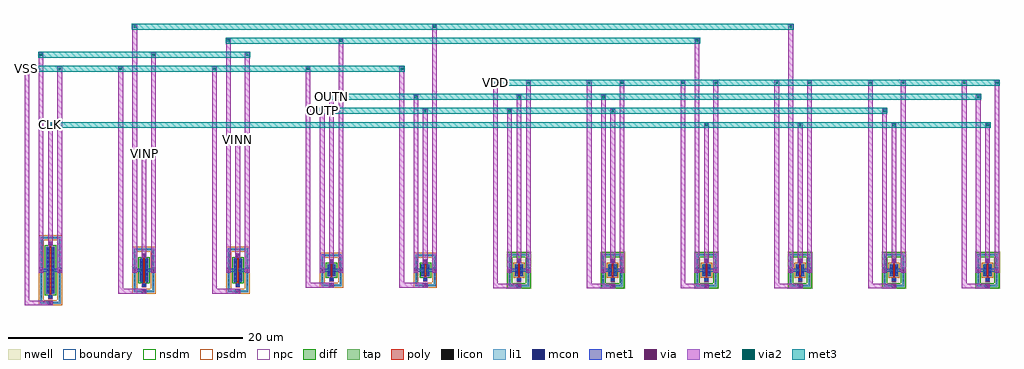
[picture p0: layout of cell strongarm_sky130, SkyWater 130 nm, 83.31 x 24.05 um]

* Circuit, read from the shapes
.subckt strongarm_sky130 CLK OUTN OUTP VDD VINN VINP VSS
XM1 VSS CLK n1 VSS sky130_fd_pr__nfet_01v8 w=4 l=0.15
XM2 n1 VINP n2 VSS sky130_fd_pr__nfet_01v8 w=2 l=0.15
XM3 n1 VINN n3 VSS sky130_fd_pr__nfet_01v8 w=2 l=0.15
XM4 n3 OUTN OUTP VSS sky130_fd_pr__nfet_01v8 w=1 l=0.15
XM5 n2 OUTP OUTN VSS sky130_fd_pr__nfet_01v8 w=1 l=0.15
XM6 VDD OUTN OUTP VDD sky130_fd_pr__pfet_01v8 w=1 l=0.15
XM7 VDD OUTP OUTN VDD sky130_fd_pr__pfet_01v8 w=1 l=0.15
XM8 VDD CLK n3 VDD sky130_fd_pr__pfet_01v8 w=1 l=0.15
XM9 VDD CLK n2 VDD sky130_fd_pr__pfet_01v8 w=1 l=0.15
XM10 VDD CLK OUTP VDD sky130_fd_pr__pfet_01v8 w=1 l=0.15
XM11 VDD CLK OUTN VDD sky130_fd_pr__pfet_01v8 w=1 l=0.15
.ends

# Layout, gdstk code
import gdstk
lib = gdstk.Library(unit=1e-6, precision=1e-09)
def R(c, l, rs):  # rectangles x0, y0, x1, y1
    for r in rs: c.add(gdstk.rectangle(r[:2], r[2:], *l))
def A(c, l, x, y, w, h, nx, ny, dx, dy):  # array of equal rectangles
    R(c, l, [(x+i*dx, y+j*dy, x+i*dx+w, y+j*dy+h) for i in range(nx) for j in range(ny)])
nwell = (64, 20)
diff = (65, 20)
tap = (65, 44)
poly = (66, 20)
licon = (66, 44)
li1 = (67, 20)
mcon = (67, 44)
met1 = (68, 20)
via = (68, 44)
met2 = (69, 20)
via2 = (69, 44)
met3 = (70, 20)
nsdm = (93, 44)
psdm = (94, 20)
npc = (95, 20)
boundary = (235, 4)

c_n4 = lib.new_cell('n4')
R(c_n4, diff, [(-0.365,-2,0.365,2)])
R(c_n4, tap, [(-0.875,-2.87,0.875,-2.7), (-0.875,-2.7,-0.705,2.7), (0.705,-2.7,0.875,2.7), (-0.875,2.7,0.875,2.87)])
R(c_n4, poly, [(-0.165,-2.44,0.165,-2.11), (-0.075,-2.11,0.075,2.11), (-0.165,2.11,0.165,2.44)])
A(c_n4, licon, -0.875, -2.295, 0.17, 0.17, 1, 14, 0, 0.34)
A(c_n4, licon, 0.705, -2.295, 0.17, 0.17, 1, 14, 0, 0.34)
A(c_n4, licon, -0.305, -1.785, 0.17, 0.17, 1, 11, 0, 0.34)
A(c_n4, licon, 0.135, -1.785, 0.17, 0.17, 1, 11, 0, 0.34)
R(c_n4, licon, [(-0.255,-2.87,-0.085,-2.7), (0.085,-2.87,0.255,-2.7), (-0.085,-2.36,0.085,-2.19), (-0.085,2.19,0.085,2.36), (-0.255,2.7,-0.085,2.87), (0.085,2.7,0.255,2.87)])
R(c_n4, li1, [(-0.875,-2.87,0.875,-2.7), (-0.875,-2.7,-0.705,2.7), (0.705,-2.7,0.875,2.7), (-0.165,-2.36,0.165,-2.19), (-0.305,-2.02,-0.135,2.02), (0.135,-2.02,0.305,2.02), (-0.165,2.19,0.165,2.36), (-0.875,2.7,0.875,2.87)])
A(c_n4, mcon, -0.305, -1.885, 0.17, 0.17, 1, 11, 0, 0.36)
A(c_n4, mcon, 0.135, -1.885, 0.17, 0.17, 1, 11, 0, 0.36)
R(c_n4, mcon, [(-0.085,-2.36,0.085,-2.19), (-0.085,2.19,0.085,2.36)])
R(c_n4, met1, [(-0.17,-2.405,0.17,-2.145), (-0.145,-2.39,0.145,-2.16), (-0.335,-2,-0.105,2), (0.105,-2,0.335,2), (-0.145,2.16,0.145,2.39)])
R(c_n4, nsdm, [(-0.49,-2.125,0.49,2.125)])
R(c_n4, psdm, [(-1,-2.995,1,-2.575), (-1,-2.575,-0.58,2.575), (0.58,-2.575,1,2.575), (-1,2.575,1,2.995)])
R(c_n4, npc, [(-0.185,-2.46,0.185,-2.09), (-0.185,2.09,0.185,2.46)])
R(c_n4, boundary, [(-0.79,-2.785,0.79,2.785)])

c_n2 = lib.new_cell('n2')
R(c_n2, diff, [(-0.365,-1,0.365,1)])
R(c_n2, tap, [(-0.875,-1.87,0.875,-1.7), (-0.875,-1.7,-0.705,1.7), (0.705,-1.7,0.875,1.7), (-0.875,1.7,0.875,1.87)])
R(c_n2, poly, [(-0.165,-1.44,0.165,-1.11), (-0.075,-1.11,0.075,1.11), (-0.165,1.11,0.165,1.44)])
A(c_n2, licon, -0.875, -1.275, 0.17, 0.17, 1, 8, 0, 0.34)
A(c_n2, licon, 0.705, -1.275, 0.17, 0.17, 1, 8, 0, 0.34)
A(c_n2, licon, -0.305, -0.935, 0.17, 0.17, 1, 6, 0, 0.34)
A(c_n2, licon, 0.135, -0.935, 0.17, 0.17, 1, 6, 0, 0.34)
R(c_n2, licon, [(-0.255,-1.87,-0.085,-1.7), (0.085,-1.87,0.255,-1.7), (-0.085,-1.36,0.085,-1.19), (-0.085,1.19,0.085,1.36), (-0.255,1.7,-0.085,1.87), (0.085,1.7,0.255,1.87)])
R(c_n2, li1, [(-0.875,-1.87,0.875,-1.7), (-0.875,-1.7,-0.705,1.7), (0.705,-1.7,0.875,1.7), (-0.165,-1.36,0.165,-1.19), (-0.305,-1.02,-0.135,1.02), (0.135,-1.02,0.305,1.02), (-0.165,1.19,0.165,1.36), (-0.875,1.7,0.875,1.87)])
A(c_n2, mcon, -0.305, -0.805, 0.17, 0.17, 1, 5, 0, 0.36)
A(c_n2, mcon, 0.135, -0.805, 0.17, 0.17, 1, 5, 0, 0.36)
R(c_n2, mcon, [(-0.085,-1.36,0.085,-1.19), (-0.085,1.19,0.085,1.36)])
R(c_n2, met1, [(-0.17,-1.405,0.17,-1.145), (-0.145,-1.39,0.145,-1.16), (-0.335,-1,-0.105,1), (0.105,-1,0.335,1), (-0.145,1.16,0.145,1.39)])
R(c_n2, nsdm, [(-0.49,-1.125,0.49,1.125)])
R(c_n2, psdm, [(-1,-1.995,1,-1.575), (-1,-1.575,-0.58,1.575), (0.58,-1.575,1,1.575), (-1,1.575,1,1.995)])
R(c_n2, npc, [(-0.185,-1.46,0.185,-1.09), (-0.185,1.09,0.185,1.46)])
R(c_n2, boundary, [(-0.79,-1.785,0.79,1.785)])

c_n1 = lib.new_cell('n1')
R(c_n1, diff, [(-0.365,-0.5,0.365,0.5)])
R(c_n1, tap, [(-0.875,-1.37,0.875,-1.2), (-0.875,-1.2,-0.705,1.2), (0.705,-1.2,0.875,1.2), (-0.875,1.2,0.875,1.37)])
R(c_n1, poly, [(-0.165,-0.94,0.165,-0.61), (-0.075,-0.61,0.075,0.61), (-0.165,0.61,0.165,0.94)])
A(c_n1, licon, -0.875, -0.765, 0.17, 0.17, 1, 5, 0, 0.34)
A(c_n1, licon, 0.705, -0.765, 0.17, 0.17, 1, 5, 0, 0.34)
A(c_n1, licon, -0.305, -0.425, 0.17, 0.17, 1, 3, 0, 0.34)
A(c_n1, licon, 0.135, -0.425, 0.17, 0.17, 1, 3, 0, 0.34)
R(c_n1, licon, [(-0.255,-1.37,-0.085,-1.2), (0.085,-1.37,0.255,-1.2), (-0.085,-0.86,0.085,-0.69), (-0.085,0.69,0.085,0.86), (-0.255,1.2,-0.085,1.37), (0.085,1.2,0.255,1.37)])
R(c_n1, li1, [(-0.875,-1.37,0.875,-1.2), (-0.875,-1.2,-0.705,1.2), (0.705,-1.2,0.875,1.2), (-0.165,-0.86,0.165,-0.69), (-0.305,-0.52,-0.135,0.52), (0.135,-0.52,0.305,0.52), (-0.165,0.69,0.165,0.86), (-0.875,1.2,0.875,1.37)])
R(c_n1, mcon, [(-0.085,-0.86,0.085,-0.69), (-0.305,-0.265,-0.135,-0.095), (0.135,-0.265,0.305,-0.095), (-0.305,0.095,-0.135,0.265), (0.135,0.095,0.305,0.265), (-0.085,0.69,0.085,0.86)])
R(c_n1, met1, [(-0.17,-0.905,0.17,-0.645), (-0.145,-0.89,0.145,-0.66), (-0.335,-0.5,-0.105,0.5), (0.105,-0.5,0.335,0.5), (-0.145,0.66,0.145,0.89)])
R(c_n1, nsdm, [(-0.49,-0.625,0.49,0.625)])
R(c_n1, psdm, [(-1,-1.495,1,-1.075), (-1,-1.075,-0.58,1.075), (0.58,-1.075,1,1.075), (-1,1.075,1,1.495)])
R(c_n1, npc, [(-0.185,-0.96,0.185,-0.59), (-0.185,0.59,0.185,0.96)])
R(c_n1, boundary, [(-0.79,-1.285,0.79,1.285)])

c_p1 = lib.new_cell('p1')
R(c_p1, nwell, [(-1.055,-1.595,1.055,1.595)])
R(c_p1, diff, [(-0.365,-0.5,0.365,0.5)])
R(c_p1, tap, [(-0.875,-1.415,0.875,-1.245), (-0.875,-1.245,-0.705,1.245), (0.705,-1.245,0.875,1.245), (-0.875,1.245,0.875,1.415)])
R(c_p1, poly, [(-0.165,-0.985,0.165,-0.655), (-0.075,-0.655,0.075,0.655), (-0.165,0.655,0.165,0.985)])
A(c_p1, licon, -0.875, -0.935, 0.17, 0.17, 1, 6, 0, 0.34)
A(c_p1, licon, 0.705, -0.935, 0.17, 0.17, 1, 6, 0, 0.34)
A(c_p1, licon, -0.305, -0.425, 0.17, 0.17, 1, 3, 0, 0.34)
A(c_p1, licon, 0.135, -0.425, 0.17, 0.17, 1, 3, 0, 0.34)
R(c_p1, licon, [(-0.255,-1.415,-0.085,-1.245), (0.085,-1.415,0.255,-1.245), (-0.085,-0.905,0.085,-0.735), (-0.085,0.735,0.085,0.905), (-0.255,1.245,-0.085,1.415), (0.085,1.245,0.255,1.415)])
R(c_p1, li1, [(-0.875,-1.415,0.875,-1.245), (-0.875,-1.245,-0.705,1.245), (0.705,-1.245,0.875,1.245), (-0.165,-0.905,0.165,-0.735), (-0.305,-0.52,-0.135,0.52), (0.135,-0.52,0.305,0.52), (-0.165,0.735,0.165,0.905), (-0.875,1.245,0.875,1.415)])
R(c_p1, mcon, [(-0.085,-0.905,0.085,-0.735), (-0.305,-0.265,-0.135,-0.095), (0.135,-0.265,0.305,-0.095), (-0.305,0.095,-0.135,0.265), (0.135,0.095,0.305,0.265), (-0.085,0.735,0.085,0.905)])
R(c_p1, met1, [(-0.17,-0.95,0.17,-0.69), (-0.145,-0.935,0.145,-0.705), (-0.335,-0.5,-0.105,0.5), (0.105,-0.5,0.335,0.5), (-0.145,0.705,0.145,0.935)])
R(c_p1, nsdm, [(-1,-1.54,1,-1.12), (-1,-1.12,-0.58,1.12), (0.58,-1.12,1,1.12), (-1,1.12,1,1.54)])
R(c_p1, psdm, [(-0.49,-0.625,0.49,0.625)])
R(c_p1, npc, [(-0.185,-1.005,0.185,-0.635), (-0.185,0.635,0.185,1.005)])
R(c_p1, boundary, [(-0.79,-1.33,0.79,1.33)])

strongarm_sky130 = lib.new_cell('strongarm_sky130')
A(strongarm_sky130, li1, 43.83, -1.5, 0.34, 0.34, 6, 1, 8, 0)
R(strongarm_sky130, li1, [(3.83,-2.955,4.17,-2.615), (11.83,-1.955,12.17,-1.615), (19.83,-1.955,20.17,-1.615), (27.83,-1.455,28.17,-1.115), (35.83,-1.455,36.17,-1.115)])
A(strongarm_sky130, mcon, 43.915, -1.415, 0.17, 0.17, 6, 1, 8, 0)
R(strongarm_sky130, mcon, [(3.915,-2.87,4.085,-2.7), (11.915,-1.87,12.085,-1.7), (19.915,-1.87,20.085,-1.7), (27.915,-1.37,28.085,-1.2), (35.915,-1.37,36.085,-1.2)])
A(strongarm_sky130, met1, 43.83, 0.69, 0.34, 0.26, 6, 1, 8, 0)
R(strongarm_sky130, met1, [(3.8,-2.985,4.2,-2.585), (3.8,-2.985,4.2,-2.585), (11.8,-1.985,12.2,-1.585), (11.8,-1.985,12.2,-1.585), (19.8,-1.985,20.2,-1.585), (19.8,-1.985,20.2,-1.585), (43.8,-1.53,44.2,-1.13), (43.8,-1.53,44.2,-1.13), (51.8,-1.53,52.2,-1.13), (51.8,-1.53,52.2,-1.13), (59.8,-1.53,60.2,-1.13), (59.8,-1.53,60.2,-1.13), (67.8,-1.53,68.2,-1.13), (67.8,-1.53,68.2,-1.13), (75.8,-1.53,76.2,-1.13), (75.8,-1.53,76.2,-1.13), (83.8,-1.53,84.2,-1.13), (83.8,-1.53,84.2,-1.13), (27.8,-1.485,28.2,-1.085), (27.8,-1.485,28.2,-1.085), (35.8,-1.485,36.2,-1.085), (35.8,-1.485,36.2,-1.085), (3,-0.2,3.4,0.2), (4.6,-0.2,5,0.2), (11,-0.2,11.4,0.2), (12.6,-0.2,13,0.2), (19,-0.2,19.4,0.2), (20.6,-0.2,21,0.2), (27,-0.2,27.4,0.2), (28.6,-0.2,29,0.2), (35,-0.2,35.4,0.2), (36.6,-0.2,37,0.2), (43,-0.2,43.4,0.2), (44.6,-0.2,45,0.2), (51,-0.2,51.4,0.2), (52.6,-0.2,53,0.2), (59,-0.2,59.4,0.2), (60.6,-0.2,61,0.2), (67,-0.2,67.4,0.2), (68.6,-0.2,69,0.2), (75,-0.2,75.4,0.2), (76.6,-0.2,77,0.2), (83,-0.2,83.4,0.2), (84.6,-0.2,85,0.2), (27.83,0.645,28.17,0.905), (35.83,0.645,36.17,0.905), (11.83,1.145,12.17,1.405), (19.83,1.145,20.17,1.405), (3.83,2.145,4.17,2.405)])
A(strongarm_sky130, via, 43.925, -1.405, 0.15, 0.15, 6, 2, 8, 2.15)
R(strongarm_sky130, via, [(3.925,-2.86,4.075,-2.71), (11.925,-1.86,12.075,-1.71), (19.925,-1.86,20.075,-1.71), (27.925,-1.36,28.075,-1.21), (35.925,-1.36,36.075,-1.21), (3.125,-0.075,3.275,0.075), (4.725,-0.075,4.875,0.075), (11.125,-0.075,11.275,0.075), (12.725,-0.075,12.875,0.075), (19.125,-0.075,19.275,0.075), (20.725,-0.075,20.875,0.075), (27.125,-0.075,27.275,0.075), (28.725,-0.075,28.875,0.075), (35.125,-0.075,35.275,0.075), (36.725,-0.075,36.875,0.075), (43.125,-0.075,43.275,0.075), (44.725,-0.075,44.875,0.075), (51.125,-0.075,51.275,0.075), (52.725,-0.075,52.875,0.075), (59.125,-0.075,59.275,0.075), (60.725,-0.075,60.875,0.075), (67.125,-0.075,67.275,0.075), (68.725,-0.075,68.875,0.075), (75.125,-0.075,75.275,0.075), (76.725,-0.075,76.875,0.075), (83.125,-0.075,83.275,0.075), (84.725,-0.075,84.875,0.075), (27.925,0.7,28.075,0.85), (35.925,0.7,36.075,0.85), (11.925,1.2,12.075,1.35), (19.925,1.2,20.075,1.35), (3.925,2.2,4.075,2.35)])
A(strongarm_sky130, met2, 43.8, -1.53, 0.4, 0.4, 6, 2, 8, 2.15)
A(strongarm_sky130, met2, 59.8, 12.2, 0.4, 0.4, 4, 1, 8, 0)
A(strongarm_sky130, met2, 9.8, 17, 0.4, 0.4, 4, 1, 8, 0)
R(strongarm_sky130, met2, [(3.8,-2.985,4.2,-2.585), (11.8,-1.985,12.2,-1.585), (19.8,-1.985,20.2,-1.585), (27.8,-1.485,28.2,-1.085), (35.8,-1.485,36.2,-1.085), (3,-0.2,3.4,0.2), (4.6,-0.2,5,0.2), (11,-0.2,11.4,0.2), (12.6,-0.2,13,0.2), (19,-0.2,19.4,0.2), (20.6,-0.2,21,0.2), (27,-0.2,27.4,0.2), (28.6,-0.2,29,0.2), (35,-0.2,35.4,0.2), (36.6,-0.2,37,0.2), (43,-0.2,43.4,0.2), (44.6,-0.2,45,0.2), (51,-0.2,51.4,0.2), (52.6,-0.2,53,0.2), (59,-0.2,59.4,0.2), (60.6,-0.2,61,0.2), (67,-0.2,67.4,0.2), (68.6,-0.2,69,0.2), (75,-0.2,75.4,0.2), (76.6,-0.2,77,0.2), (83,-0.2,83.4,0.2), (84.6,-0.2,85,0.2), (27.8,0.575,28.2,0.975), (35.8,0.575,36.2,0.975), (11.8,1.075,12.2,1.475), (19.8,1.075,20.2,1.475), (3.8,2.075,4.2,2.475), (11.8,9.8,12.2,10.2), (19.8,11,20.2,11.4), (3.8,12.2,4.2,12.6), (27,13.4,27.4,13.8), (35.8,13.4,36.2,13.8), (43,13.4,43.4,13.8), (51.8,13.4,52.2,13.8), (75,13.4,75.4,13.8), (27.8,14.6,28.2,15), (35,14.6,35.4,15), (43.8,14.6,44.2,15), (51,14.6,51.4,15), (83,14.6,83.4,15), (41.8,15.8,42.2,16.2), (44.6,15.8,45,16.2), (49.8,15.8,50.2,16.2), (52.6,15.8,53,16.2), (57.8,15.8,58.2,16.2), (60.6,15.8,61,16.2), (65.8,15.8,66.2,16.2), (68.6,15.8,69,16.2), (73.8,15.8,74.2,16.2), (76.6,15.8,77,16.2), (81.8,15.8,82.2,16.2), (84.6,15.8,85,16.2), (1.8,17,2.2,17.4), (4.6,17,5,17.4), (3,18.2,3.4,18.6), (12.6,18.2,13,18.6), (20.6,18.2,21,18.6), (19,19.4,19.4,19.8), (28.6,19.4,29,19.8), (59,19.4,59.4,19.8), (11,20.6,11.4,21), (36.6,20.6,37,21), (67,20.6,67.4,21)])
A(strongarm_sky130, via2, 59.9, 12.3, 0.2, 0.2, 4, 1, 8, 0)
A(strongarm_sky130, via2, 9.9, 17.1, 0.2, 0.2, 4, 1, 8, 0)
R(strongarm_sky130, via2, [(11.9,9.9,12.1,10.1), (19.9,11.1,20.1,11.3), (3.9,12.3,4.1,12.5), (27.1,13.5,27.3,13.7), (35.9,13.5,36.1,13.7), (43.1,13.5,43.3,13.7), (51.9,13.5,52.1,13.7), (75.1,13.5,75.3,13.7), (27.9,14.7,28.1,14.9), (35.1,14.7,35.3,14.9), (43.9,14.7,44.1,14.9), (51.1,14.7,51.3,14.9), (83.1,14.7,83.3,14.9), (41.9,15.9,42.1,16.1), (44.7,15.9,44.9,16.1), (49.9,15.9,50.1,16.1), (52.7,15.9,52.9,16.1), (57.9,15.9,58.1,16.1), (60.7,15.9,60.9,16.1), (65.9,15.9,66.1,16.1), (68.7,15.9,68.9,16.1), (73.9,15.9,74.1,16.1), (76.7,15.9,76.9,16.1), (81.9,15.9,82.1,16.1), (84.7,15.9,84.9,16.1), (1.9,17.1,2.1,17.3), (4.7,17.1,4.9,17.3), (3.1,18.3,3.3,18.5), (12.7,18.3,12.9,18.5), (20.7,18.3,20.9,18.5), (19.1,19.5,19.3,19.7), (28.7,19.5,28.9,19.7), (59.1,19.5,59.3,19.7), (11.1,20.7,11.3,20.9), (36.7,20.7,36.9,20.9), (67.1,20.7,67.3,20.9)])
A(strongarm_sky130, met3, 59.75, 12.15, 0.5, 0.5, 4, 1, 8, 0)
A(strongarm_sky130, met3, 9.75, 16.95, 0.5, 0.5, 4, 1, 8, 0)
R(strongarm_sky130, met3, [(11.75,9.75,12.25,10.25), (19.75,10.95,20.25,11.45), (3.75,12.15,4.25,12.65), (26.95,13.35,27.45,13.85), (35.75,13.35,36.25,13.85), (42.95,13.35,43.45,13.85), (51.75,13.35,52.25,13.85), (74.95,13.35,75.45,13.85), (27.75,14.55,28.25,15.05), (34.95,14.55,35.45,15.05), (43.75,14.55,44.25,15.05), (50.95,14.55,51.45,15.05), (82.95,14.55,83.45,15.05), (41.75,15.75,42.25,16.25), (44.55,15.75,45.05,16.25), (49.75,15.75,50.25,16.25), (52.55,15.75,53.05,16.25), (57.75,15.75,58.25,16.25), (60.55,15.75,61.05,16.25), (65.75,15.75,66.25,16.25), (68.55,15.75,69.05,16.25), (73.75,15.75,74.25,16.25), (76.55,15.75,77.05,16.25), (81.75,15.75,82.25,16.25), (84.55,15.75,85.05,16.25), (1.75,16.95,2.25,17.45), (4.55,16.95,5.05,17.45), (2.95,18.15,3.45,18.65), (12.55,18.15,13.05,18.65), (20.55,18.15,21.05,18.65), (18.95,19.35,19.45,19.85), (28.55,19.35,29.05,19.85), (58.95,19.35,59.45,19.85), (10.95,20.55,11.45,21.05), (36.55,20.55,37.05,21.05), (66.95,20.55,67.45,21.05)])
strongarm_sky130.add(gdstk.FlexPath([(3.78,0),(3.2,0)], 0.24, ends="extended", simple_path=True, layer=68, datatype=20))  # met1
strongarm_sky130.add(gdstk.FlexPath([(4.22,0),(4.8,0)], 0.24, ends="extended", simple_path=True, layer=68, datatype=20))  # met1
strongarm_sky130.add(gdstk.FlexPath([(11.78,0),(11.2,0)], 0.24, ends="extended", simple_path=True, layer=68, datatype=20))  # met1
strongarm_sky130.add(gdstk.FlexPath([(12.22,0),(12.8,0)], 0.24, ends="extended", simple_path=True, layer=68, datatype=20))  # met1
strongarm_sky130.add(gdstk.FlexPath([(19.78,0),(19.2,0)], 0.24, ends="extended", simple_path=True, layer=68, datatype=20))  # met1
strongarm_sky130.add(gdstk.FlexPath([(20.22,0),(20.8,0)], 0.24, ends="extended", simple_path=True, layer=68, datatype=20))  # met1
strongarm_sky130.add(gdstk.FlexPath([(27.78,0),(27.2,0)], 0.24, ends="extended", simple_path=True, layer=68, datatype=20))  # met1
strongarm_sky130.add(gdstk.FlexPath([(28.22,0),(28.8,0)], 0.24, ends="extended", simple_path=True, layer=68, datatype=20))  # met1
strongarm_sky130.add(gdstk.FlexPath([(35.78,0),(35.2,0)], 0.24, ends="extended", simple_path=True, layer=68, datatype=20))  # met1
strongarm_sky130.add(gdstk.FlexPath([(36.22,0),(36.8,0)], 0.24, ends="extended", simple_path=True, layer=68, datatype=20))  # met1
strongarm_sky130.add(gdstk.FlexPath([(43.78,0),(43.2,0)], 0.24, ends="extended", simple_path=True, layer=68, datatype=20))  # met1
strongarm_sky130.add(gdstk.FlexPath([(44.22,0),(44.8,0)], 0.24, ends="extended", simple_path=True, layer=68, datatype=20))  # met1
strongarm_sky130.add(gdstk.FlexPath([(51.78,0),(51.2,0)], 0.24, ends="extended", simple_path=True, layer=68, datatype=20))  # met1
strongarm_sky130.add(gdstk.FlexPath([(52.22,0),(52.8,0)], 0.24, ends="extended", simple_path=True, layer=68, datatype=20))  # met1
strongarm_sky130.add(gdstk.FlexPath([(59.78,0),(59.2,0)], 0.24, ends="extended", simple_path=True, layer=68, datatype=20))  # met1
strongarm_sky130.add(gdstk.FlexPath([(60.22,0),(60.8,0)], 0.24, ends="extended", simple_path=True, layer=68, datatype=20))  # met1
strongarm_sky130.add(gdstk.FlexPath([(67.78,0),(67.2,0)], 0.24, ends="extended", simple_path=True, layer=68, datatype=20))  # met1
strongarm_sky130.add(gdstk.FlexPath([(68.22,0),(68.8,0)], 0.24, ends="extended", simple_path=True, layer=68, datatype=20))  # met1
strongarm_sky130.add(gdstk.FlexPath([(75.78,0),(75.2,0)], 0.24, ends="extended", simple_path=True, layer=68, datatype=20))  # met1
strongarm_sky130.add(gdstk.FlexPath([(76.22,0),(76.8,0)], 0.24, ends="extended", simple_path=True, layer=68, datatype=20))  # met1
strongarm_sky130.add(gdstk.FlexPath([(83.78,0),(83.2,0)], 0.24, ends="extended", simple_path=True, layer=68, datatype=20))  # met1
strongarm_sky130.add(gdstk.FlexPath([(84.22,0),(84.8,0)], 0.24, ends="extended", simple_path=True, layer=68, datatype=20))  # met1
strongarm_sky130.add(gdstk.FlexPath([(3.2,0),(3.2,18.4)], 0.4, ends="extended", simple_path=True, layer=69, datatype=20))  # met2
strongarm_sky130.add(gdstk.FlexPath([(4,2.275),(4,12.4)], 0.4, ends="extended", simple_path=True, layer=69, datatype=20))  # met2
strongarm_sky130.add(gdstk.FlexPath([(4.8,0),(4.8,17.2)], 0.4, ends="extended", simple_path=True, layer=69, datatype=20))  # met2
strongarm_sky130.add(gdstk.FlexPath([(4,-2.785),(2,-2.785)], 0.4, ends="extended", simple_path=True, layer=69, datatype=20))  # met2
strongarm_sky130.add(gdstk.FlexPath([(2,-2.785),(2,17.2)], 0.4, ends="extended", simple_path=True, layer=69, datatype=20))  # met2
strongarm_sky130.add(gdstk.FlexPath([(11.2,0),(11.2,20.8)], 0.4, ends="extended", simple_path=True, layer=69, datatype=20))  # met2
strongarm_sky130.add(gdstk.FlexPath([(12,1.275),(12,10)], 0.4, ends="extended", simple_path=True, layer=69, datatype=20))  # met2
strongarm_sky130.add(gdstk.FlexPath([(12.8,0),(12.8,18.4)], 0.4, ends="extended", simple_path=True, layer=69, datatype=20))  # met2
strongarm_sky130.add(gdstk.FlexPath([(12,-1.785),(10,-1.785)], 0.4, ends="extended", simple_path=True, layer=69, datatype=20))  # met2
strongarm_sky130.add(gdstk.FlexPath([(10,-1.785),(10,17.2)], 0.4, ends="extended", simple_path=True, layer=69, datatype=20))  # met2
strongarm_sky130.add(gdstk.FlexPath([(19.2,0),(19.2,19.6)], 0.4, ends="extended", simple_path=True, layer=69, datatype=20))  # met2
strongarm_sky130.add(gdstk.FlexPath([(20,1.275),(20,11.2)], 0.4, ends="extended", simple_path=True, layer=69, datatype=20))  # met2
strongarm_sky130.add(gdstk.FlexPath([(20.8,0),(20.8,18.4)], 0.4, ends="extended", simple_path=True, layer=69, datatype=20))  # met2
strongarm_sky130.add(gdstk.FlexPath([(20,-1.785),(18,-1.785)], 0.4, ends="extended", simple_path=True, layer=69, datatype=20))  # met2
strongarm_sky130.add(gdstk.FlexPath([(18,-1.785),(18,17.2)], 0.4, ends="extended", simple_path=True, layer=69, datatype=20))  # met2
strongarm_sky130.add(gdstk.FlexPath([(27.2,0),(27.2,13.6)], 0.4, ends="extended", simple_path=True, layer=69, datatype=20))  # met2
strongarm_sky130.add(gdstk.FlexPath([(28,0.775),(28,14.8)], 0.4, ends="extended", simple_path=True, layer=69, datatype=20))  # met2
strongarm_sky130.add(gdstk.FlexPath([(28.8,0),(28.8,19.6)], 0.4, ends="extended", simple_path=True, layer=69, datatype=20))  # met2
strongarm_sky130.add(gdstk.FlexPath([(28,-1.285),(26,-1.285)], 0.4, ends="extended", simple_path=True, layer=69, datatype=20))  # met2
strongarm_sky130.add(gdstk.FlexPath([(26,-1.285),(26,17.2)], 0.4, ends="extended", simple_path=True, layer=69, datatype=20))  # met2
strongarm_sky130.add(gdstk.FlexPath([(35.2,0),(35.2,14.8)], 0.4, ends="extended", simple_path=True, layer=69, datatype=20))  # met2
strongarm_sky130.add(gdstk.FlexPath([(36,0.775),(36,13.6)], 0.4, ends="extended", simple_path=True, layer=69, datatype=20))  # met2
strongarm_sky130.add(gdstk.FlexPath([(36.8,0),(36.8,20.8)], 0.4, ends="extended", simple_path=True, layer=69, datatype=20))  # met2
strongarm_sky130.add(gdstk.FlexPath([(36,-1.285),(34,-1.285)], 0.4, ends="extended", simple_path=True, layer=69, datatype=20))  # met2
strongarm_sky130.add(gdstk.FlexPath([(34,-1.285),(34,17.2)], 0.4, ends="extended", simple_path=True, layer=69, datatype=20))  # met2
strongarm_sky130.add(gdstk.FlexPath([(43.2,0),(43.2,13.6)], 0.4, ends="extended", simple_path=True, layer=69, datatype=20))  # met2
strongarm_sky130.add(gdstk.FlexPath([(44,0.82),(44,14.8)], 0.4, ends="extended", simple_path=True, layer=69, datatype=20))  # met2
strongarm_sky130.add(gdstk.FlexPath([(44.8,0),(44.8,16)], 0.4, ends="extended", simple_path=True, layer=69, datatype=20))  # met2
strongarm_sky130.add(gdstk.FlexPath([(44,-1.33),(42,-1.33)], 0.4, ends="extended", simple_path=True, layer=69, datatype=20))  # met2
strongarm_sky130.add(gdstk.FlexPath([(42,-1.33),(42,16)], 0.4, ends="extended", simple_path=True, layer=69, datatype=20))  # met2
strongarm_sky130.add(gdstk.FlexPath([(51.2,0),(51.2,14.8)], 0.4, ends="extended", simple_path=True, layer=69, datatype=20))  # met2
strongarm_sky130.add(gdstk.FlexPath([(52,0.82),(52,13.6)], 0.4, ends="extended", simple_path=True, layer=69, datatype=20))  # met2
strongarm_sky130.add(gdstk.FlexPath([(52.8,0),(52.8,16)], 0.4, ends="extended", simple_path=True, layer=69, datatype=20))  # met2
strongarm_sky130.add(gdstk.FlexPath([(52,-1.33),(50,-1.33)], 0.4, ends="extended", simple_path=True, layer=69, datatype=20))  # met2
strongarm_sky130.add(gdstk.FlexPath([(50,-1.33),(50,16)], 0.4, ends="extended", simple_path=True, layer=69, datatype=20))  # met2
strongarm_sky130.add(gdstk.FlexPath([(59.2,0),(59.2,19.6)], 0.4, ends="extended", simple_path=True, layer=69, datatype=20))  # met2
strongarm_sky130.add(gdstk.FlexPath([(60,0.82),(60,12.4)], 0.4, ends="extended", simple_path=True, layer=69, datatype=20))  # met2
strongarm_sky130.add(gdstk.FlexPath([(60.8,0),(60.8,16)], 0.4, ends="extended", simple_path=True, layer=69, datatype=20))  # met2
strongarm_sky130.add(gdstk.FlexPath([(60,-1.33),(58,-1.33)], 0.4, ends="extended", simple_path=True, layer=69, datatype=20))  # met2
strongarm_sky130.add(gdstk.FlexPath([(58,-1.33),(58,16)], 0.4, ends="extended", simple_path=True, layer=69, datatype=20))  # met2
strongarm_sky130.add(gdstk.FlexPath([(67.2,0),(67.2,20.8)], 0.4, ends="extended", simple_path=True, layer=69, datatype=20))  # met2
strongarm_sky130.add(gdstk.FlexPath([(68,0.82),(68,12.4)], 0.4, ends="extended", simple_path=True, layer=69, datatype=20))  # met2
strongarm_sky130.add(gdstk.FlexPath([(68.8,0),(68.8,16)], 0.4, ends="extended", simple_path=True, layer=69, datatype=20))  # met2
strongarm_sky130.add(gdstk.FlexPath([(68,-1.33),(66,-1.33)], 0.4, ends="extended", simple_path=True, layer=69, datatype=20))  # met2
strongarm_sky130.add(gdstk.FlexPath([(66,-1.33),(66,16)], 0.4, ends="extended", simple_path=True, layer=69, datatype=20))  # met2
strongarm_sky130.add(gdstk.FlexPath([(75.2,0),(75.2,13.6)], 0.4, ends="extended", simple_path=True, layer=69, datatype=20))  # met2
strongarm_sky130.add(gdstk.FlexPath([(76,0.82),(76,12.4)], 0.4, ends="extended", simple_path=True, layer=69, datatype=20))  # met2
strongarm_sky130.add(gdstk.FlexPath([(76.8,0),(76.8,16)], 0.4, ends="extended", simple_path=True, layer=69, datatype=20))  # met2
strongarm_sky130.add(gdstk.FlexPath([(76,-1.33),(74,-1.33)], 0.4, ends="extended", simple_path=True, layer=69, datatype=20))  # met2
strongarm_sky130.add(gdstk.FlexPath([(74,-1.33),(74,16)], 0.4, ends="extended", simple_path=True, layer=69, datatype=20))  # met2
strongarm_sky130.add(gdstk.FlexPath([(83.2,0),(83.2,14.8)], 0.4, ends="extended", simple_path=True, layer=69, datatype=20))  # met2
strongarm_sky130.add(gdstk.FlexPath([(84,0.82),(84,12.4)], 0.4, ends="extended", simple_path=True, layer=69, datatype=20))  # met2
strongarm_sky130.add(gdstk.FlexPath([(84.8,0),(84.8,16)], 0.4, ends="extended", simple_path=True, layer=69, datatype=20))  # met2
strongarm_sky130.add(gdstk.FlexPath([(84,-1.33),(82,-1.33)], 0.4, ends="extended", simple_path=True, layer=69, datatype=20))  # met2
strongarm_sky130.add(gdstk.FlexPath([(82,-1.33),(82,16)], 0.4, ends="extended", simple_path=True, layer=69, datatype=20))  # met2
strongarm_sky130.add(gdstk.FlexPath([(11.75,10),(12.25,10)], 0.5, ends="extended", simple_path=True, layer=70, datatype=20))  # met3
strongarm_sky130.add(gdstk.FlexPath([(19.75,11.2),(20.25,11.2)], 0.5, ends="extended", simple_path=True, layer=70, datatype=20))  # met3
strongarm_sky130.add(gdstk.FlexPath([(4,12.4),(84,12.4)], 0.5, ends="extended", simple_path=True, layer=70, datatype=20))  # met3
strongarm_sky130.add(gdstk.FlexPath([(27.2,13.6),(75.2,13.6)], 0.5, ends="extended", simple_path=True, layer=70, datatype=20))  # met3
strongarm_sky130.add(gdstk.FlexPath([(28,14.8),(83.2,14.8)], 0.5, ends="extended", simple_path=True, layer=70, datatype=20))  # met3
strongarm_sky130.add(gdstk.FlexPath([(42,16),(84.8,16)], 0.5, ends="extended", simple_path=True, layer=70, datatype=20))  # met3
strongarm_sky130.add(gdstk.FlexPath([(2,17.2),(34,17.2)], 0.5, ends="extended", simple_path=True, layer=70, datatype=20))  # met3
strongarm_sky130.add(gdstk.FlexPath([(3.2,18.4),(20.8,18.4)], 0.5, ends="extended", simple_path=True, layer=70, datatype=20))  # met3
strongarm_sky130.add(gdstk.FlexPath([(19.2,19.6),(59.2,19.6)], 0.5, ends="extended", simple_path=True, layer=70, datatype=20))  # met3
strongarm_sky130.add(gdstk.FlexPath([(11.2,20.8),(67.2,20.8)], 0.5, ends="extended", simple_path=True, layer=70, datatype=20))  # met3
strongarm_sky130.add(gdstk.Reference(c_n4, (4,0)))
strongarm_sky130.add(gdstk.Reference(c_n2, (12,0)))
strongarm_sky130.add(gdstk.Reference(c_n2, (20,0)))
strongarm_sky130.add(gdstk.Reference(c_n1, (28,0)))
strongarm_sky130.add(gdstk.Reference(c_n1, (36,0)))
strongarm_sky130.add(gdstk.Reference(c_p1, (44,0)))
strongarm_sky130.add(gdstk.Reference(c_p1, (52,0)))
strongarm_sky130.add(gdstk.Reference(c_p1, (60,0)))
strongarm_sky130.add(gdstk.Reference(c_p1, (68,0)))
strongarm_sky130.add(gdstk.Reference(c_p1, (76,0)))
strongarm_sky130.add(gdstk.Reference(c_p1, (84,0)))
strongarm_sky130.add(gdstk.Label('VINP', (12,10), layer=70, texttype=5))
strongarm_sky130.add(gdstk.Label('VINN', (20,11.2), layer=70, texttype=5))
strongarm_sky130.add(gdstk.Label('CLK', (4,12.4), layer=70, texttype=5))
strongarm_sky130.add(gdstk.Label('OUTP', (27.2,13.6), layer=70, texttype=5))
strongarm_sky130.add(gdstk.Label('OUTN', (28,14.8), layer=70, texttype=5))
strongarm_sky130.add(gdstk.Label('VDD', (42,16), layer=70, texttype=5))
strongarm_sky130.add(gdstk.Label('VSS', (2,17.2), layer=70, texttype=5))

lib.write_gds('strongarm_sky130.gds')
